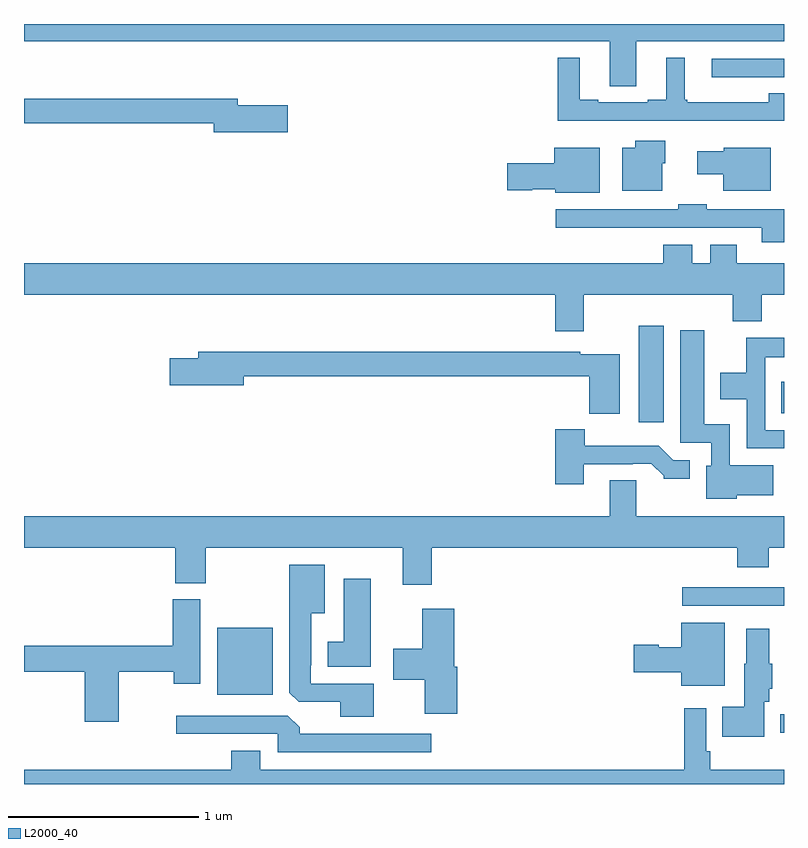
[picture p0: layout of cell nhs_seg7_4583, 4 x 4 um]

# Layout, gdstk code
import gdstk
lib = gdstk.Library(unit=1e-6, precision=1e-09)
def R(c, l, rs):  # rectangles x0, y0, x1, y1
    for r in rs: c.add(gdstk.rectangle(r[:2], r[2:], *l))
def P(c, l, *ps):  # polygons
    for p in ps: c.add(gdstk.Polygon(p, *l))
L2000_40 = (2000, 40)

nhs_seg7_4583 = lib.new_cell('nhs_seg7_4583')
R(nhs_seg7_4583, L2000_40, [(402.981,1038.269,403,1038.366), (400.016,1038.47,400.309,1038.823), (402.465,1038.939,403,1039.035), (402.236,1039.905,402.367,1040.413), (402.985,1039.952,403,1040.116), (402.621,1041.72,403,1041.816)])
P(nhs_seg7_4583, L2000_40, [(402.223,1041.908),(403,1041.908),(403,1042),(399,1042),(399,1041.908),(402.083,1041.908),(402.083,1041.673),(402.223,1041.673)],
  [(402.122,1041.492),(402.555,1041.492),(402.555,1041.491),(403,1041.491),(403,1041.635),(402.92,1041.635),(402.92,1041.589),(402.49,1041.589),(402.49,1041.601),(402.478,1041.601),(402.478,1041.823),(402.38,1041.823),(402.38,1041.601),(402.284,1041.601),(402.284,1041.588),(402.022,1041.588),(402.022,1041.601),(401.926,1041.601),(401.926,1041.823),(401.809,1041.823),(401.809,1041.491),(402.122,1041.491)],
  [(400.387,1041.573),(400.126,1041.573),(400.126,1041.607),(399,1041.607),(399,1041.478),(399.998,1041.478),(399.998,1041.43),(400.387,1041.43)],
  [(402.358,1041.267),(402.376,1041.267),(402.376,1041.385),(402.218,1041.385),(402.218,1041.349),(402.149,1041.349),(402.149,1041.122),(402.358,1041.122)],
  [(402.931,1041.349),(402.684,1041.349),(402.684,1041.331),(402.543,1041.331),(402.543,1041.209),(402.68,1041.209),(402.68,1041.122),(402.931,1041.122)],
  [(402.031,1041.349),(401.792,1041.349),(401.792,1041.266),(401.544,1041.266),(401.544,1041.124),(401.676,1041.124),(401.676,1041.131),(401.796,1041.131),(401.796,1041.113),(402.031,1041.113)],
  [(403,1041.024),(402.594,1041.024),(402.594,1041.052),(402.444,1041.052),(402.444,1041.024),(401.799,1041.024),(401.799,1040.927),(402.344,1040.927),(402.344,1040.928),(402.884,1040.928),(402.884,1040.852),(403,1040.852)],
  [(401.947,1040.576),(402.731,1040.576),(402.731,1040.435),(402.883,1040.435),(402.883,1040.576),(403,1040.576),(403,1040.74),(402.751,1040.74),(402.751,1040.839),(402.611,1040.839),(402.611,1040.74),(402.517,1040.74),(402.517,1040.839),(402.365,1040.839),(402.365,1040.74),(399,1040.74),(399,1040.576),(401.795,1040.576),(401.795,1040.382),(401.947,1040.382)],
  [(402.75,1039.52),(402.943,1039.52),(402.943,1039.678),(402.714,1039.678),(402.714,1039.894),(402.58,1039.894),(402.58,1040.389),(402.455,1040.389),(402.455,1039.797),(402.618,1039.797),(402.618,1039.674),(402.59,1039.674),(402.59,1039.502),(402.75,1039.502)],
  [(403,1039.863),(402.9,1039.863),(402.9,1040.246),(403,1040.246),(403,1040.35),(402.802,1040.35),(402.802,1040.164),(402.665,1040.164),(402.665,1040.024),(402.804,1040.024),(402.804,1039.767),(403,1039.767)],
  [(402.136,1040.263),(401.928,1040.263),(401.928,1040.275),(399.917,1040.275),(399.917,1040.241),(399.768,1040.241),(399.768,1040.099),(400.156,1040.099),(400.156,1040.146),(401.974,1040.146),(401.974,1039.949),(402.136,1039.949)],
  [(401.947,1039.683),(402.203,1039.683),(402.203,1039.686),(402.302,1039.686),(402.366,1039.622),(402.366,1039.607),(402.505,1039.607),(402.505,1039.704),(402.417,1039.704),(402.341,1039.78),(401.95,1039.78),(401.95,1039.867),(401.795,1039.867),(401.795,1039.578),(401.947,1039.578)],
  [(401.147,1039.244),(402.755,1039.244),(402.755,1039.142),(402.92,1039.142),(402.92,1039.244),(403,1039.244),(403,1039.408),(402.223,1039.408),(402.223,1039.598),(402.083,1039.598),(402.083,1039.408),(399,1039.408),(399,1039.244),(399.797,1039.244),(399.797,1039.057),(399.957,1039.057),(399.957,1039.244),(400.994,1039.244),(400.994,1039.05),(401.147,1039.05)],
  [(400.84,1038.528),(400.509,1038.528),(400.509,1038.625),(400.513,1038.625),(400.513,1038.899),(400.582,1038.899),(400.582,1039.153),(400.397,1039.153),(400.397,1038.481),(400.446,1038.432),(400.664,1038.432),(400.664,1038.353),(400.84,1038.353)],
  [(400.825,1039.081),(400.682,1039.081),(400.682,1038.748),(400.598,1038.748),(400.598,1038.617),(400.825,1038.617)],
  [(399.498,1038.592),(399.787,1038.592),(399.787,1038.528),(399.928,1038.528),(399.928,1038.972),(399.782,1038.972),(399.782,1038.728),(399,1038.728),(399,1038.592),(399.32,1038.592),(399.32,1038.327),(399.498,1038.327)],
  [(401.279,1038.617),(401.264,1038.617),(401.264,1038.922),(401.096,1038.922),(401.096,1038.711),(400.944,1038.711),(400.944,1038.548),(401.108,1038.548),(401.108,1038.369),(401.279,1038.369)],
  [(402.688,1038.85),(402.458,1038.85),(402.458,1038.721),(402.342,1038.721),(402.342,1038.734),(402.21,1038.734),(402.21,1038.587),(402.458,1038.587),(402.458,1038.518),(402.688,1038.518)],
  [(402.895,1038.432),(402.922,1038.432),(402.922,1038.501),(402.937,1038.501),(402.937,1038.633),(402.922,1038.633),(402.922,1038.817),(402.8,1038.817),(402.8,1038.633),(402.791,1038.633),(402.791,1038.406),(402.676,1038.406),(402.676,1038.248),(402.895,1038.248)],
  [(400.091,1038.076),(399,1038.076),(399,1038),(403,1038),(403,1038.076),(402.611,1038.076),(402.611,1038.172),(402.591,1038.172),(402.591,1038.4),(402.475,1038.4),(402.475,1038.076),(400.243,1038.076),(400.243,1038.175),(400.091,1038.175)],
  [(401.143,1038.264),(400.451,1038.264),(400.451,1038.298),(400.389,1038.36),(399.801,1038.36),(399.801,1038.264),(400.335,1038.264),(400.335,1038.168),(401.143,1038.168)])

lib.write_gds('nhs_seg7_4583.gds')
